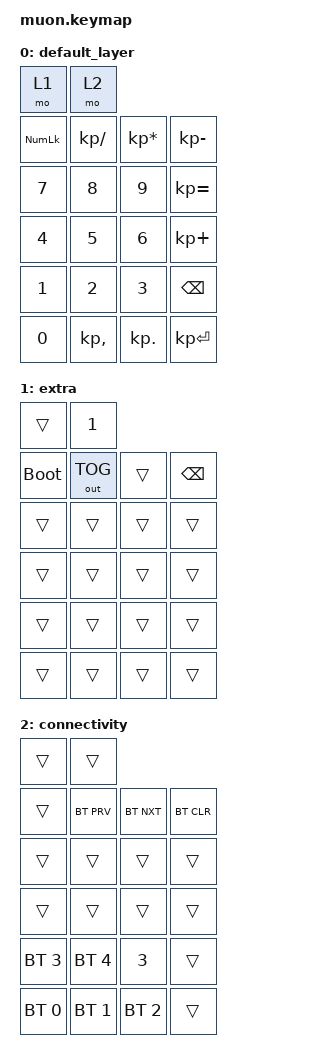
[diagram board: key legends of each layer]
/*
 * Copyright (c) 2024 Brandon Beltran
 *
 * SPDX-License-Identifier: MIT
 */

#include <behaviors.dtsi>
#include <dt-bindings/zmk/keys.h>
#include <dt-bindings/zmk/bt.h>
#include <dt-bindings/zmk/outputs.h>


/ {
    keymap {
        compatible = "zmk,keymap";

        default_layer {
// -------------------------
// | L1  | L2  |
// | NLK |  /  |  *  |  -  |
// |  7  |  8  |  9  |  =  |
// |  4  |  5  |  6  |  +  |
// |  1  |  2  |  3  | BSPC|
// |  CTL|  WIN|  ALT| ENT |
// --------------------------
            bindings = <
    &mo 1           &mo 2 
    &kp KP_NUM      &kp KP_SLASH    &kp KP_MULTIPLY &kp KP_MINUS
    &kp N7          &kp N8          &kp N9          &kp KP_EQUAL
    &kp N4          &kp N5          &kp N6          &kp KP_PLUS
    &kp N1          &kp N2          &kp N3          &kp BSPC
    &kp N0          &kp KP_COMMA    &kp KP_DOT      &kp KP_ENTER
            >;
        };

        extra {
// -------------------------
// | L1  | L2  |
// | NLK |  /  |  *  |  -  |
// |  7  |  8  |  9  |  =  |
// |  4  |  5  |  6  |  +  |
// |  1  |  2  |  3  | BSPC|
// |  CTL|  WIN|  ALT| ENT |
// --------------------------
            bindings = <
    &trans          &kp N1          
    &bootloader     &out OUT_TOG          &trans          &kp BSPC          
    &trans          &trans          &trans          &trans          
    &trans          &trans          &trans          &trans          
    &trans          &trans          &trans          &trans          
    &trans          &trans          &trans          &trans
            >;
        };

        connectivity {
// -------------------------
// | L1  | L2  |
// | NLK |  /  |  *  |  -  |
// |  7  |  8  |  9  |  =  |
// |  4  |  5  |  6  |  +  |
// |  1  |  2  |  3  | BSPC|
// |  CTL|  WIN|  ALT| ENT |
// --------------------------
            bindings = <
    &trans          &trans 
    &trans          &bt BT_PRV      &bt BT_NXT      &bt BT_CLR
    &trans          &trans          &trans          &trans          
    &trans          &trans          &trans          &trans          
    &bt BT_SEL 3    &bt BT_SEL 4    &kp N3          &trans          
    &bt BT_SEL 0    &bt BT_SEL 1    &bt BT_SEL 2    &trans          
            >;
        };
    };
};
